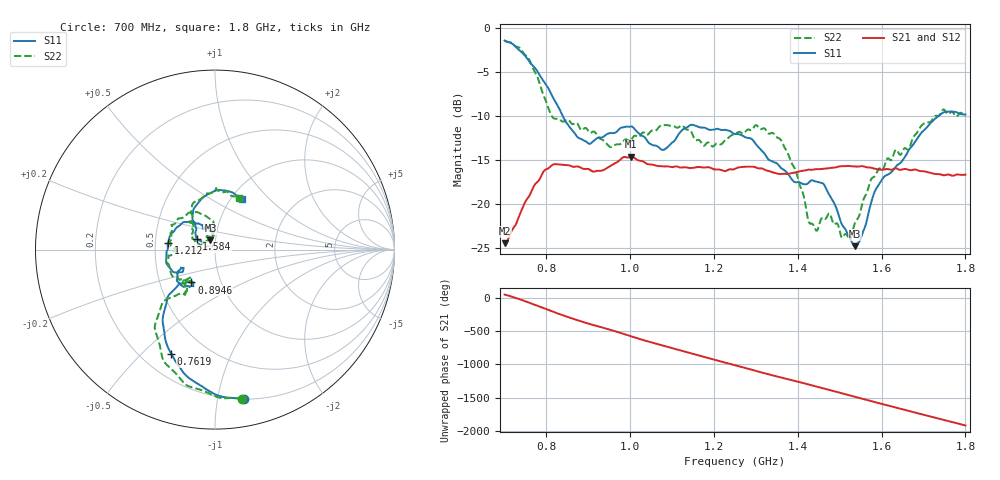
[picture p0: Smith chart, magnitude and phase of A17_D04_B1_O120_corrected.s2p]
! Created with skrf 1.9.0 (http://scikit-rf.org).
# Hz S RI R 50.0
!freq ReS11 ImS11 ReS21 ImS21 ReS12 ImS12 ReS22 ImS22
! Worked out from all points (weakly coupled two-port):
!   1601 points, 700 MHz to 1.8 GHz, reference 50 ohm
!   highest |S21| = -14.65 dB at 1.002 GHz (marker M1); lowest = -24.5 dB at 701.4 MHz (marker M2)
!   lowest |S11| = -24.8 dB at 1.536 GHz (marker M3), VSWR 1.12, Z = 47.3 + j4.87 ohm
!   |S11| at or under -10 dB: 838.4 MHz to 1.737 GHz (898.3 MHz wide, 69.8 % of centre)
!   |S22| runs from -24.0 to -1.5 dB; largest |S21 - S12| = 0.0035
!   S11 on the Smith chart (normalised r, x): 700 MHz: 0.20, -1.19; 761.9 MHz: 0.32, -0.62; 894.6 MHz: 0.72, -0.28; 1.212 GHz: 0.58, +0.05; 1.584 GHz: 0.81, +0.10; 1.8 GHz: 1.12, +0.71
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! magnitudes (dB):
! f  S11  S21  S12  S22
! 700 MHz  -1.4  -24.5  -24.3  -1.5
! 701.4 MHz  -1.5  -24.5  -24.1  -1.5
! 761.9 MHz  -4.0  -18.8  -18.8  -4.0
! 814.1 MHz  -7.8  -15.6  -15.6  -10.1
! 883.6 MHz  -12.7  -16.0  -15.8  -11.6
! 894.6 MHz  -12.9  -16.0  -16.1  -11.4
! 953 MHz  -12.0  -15.7  -15.7  -13.6
! 1.002 GHz  -11.2  -14.6  -14.8  -12.7
! 1.067 GHz  -13.6  -15.7  -15.7  -11.4
! 1.144 GHz  -11.0  -16.0  -15.9  -11.7
! 1.212 GHz  -11.5  -16.1  -16.1  -13.2
! 1.25 GHz  -12.1  -16.0  -16.0  -12.1
! 1.301 GHz  -13.3  -15.9  -15.9  -11.1
! 1.358 GHz  -15.9  -16.6  -16.6  -12.7
! 1.434 GHz  -17.3  -16.1  -16.1  -22.3
! 1.464 GHz  -17.9  -16.0  -16.0  -21.7
! 1.523 GHz  -23.8  -15.7  -15.7  -24.0
! 1.536 GHz  -24.8  -15.8  -15.8  -22.2
! 1.584 GHz  -18.6  -16.0  -16.0  -16.9
! 1.617 GHz  -16.6  -16.1  -16.1  -14.9
! 1.739 GHz  -9.9  -16.7  -16.7  -9.9
! 1.8 GHz  -9.9  -16.7  -16.7  -10.0
